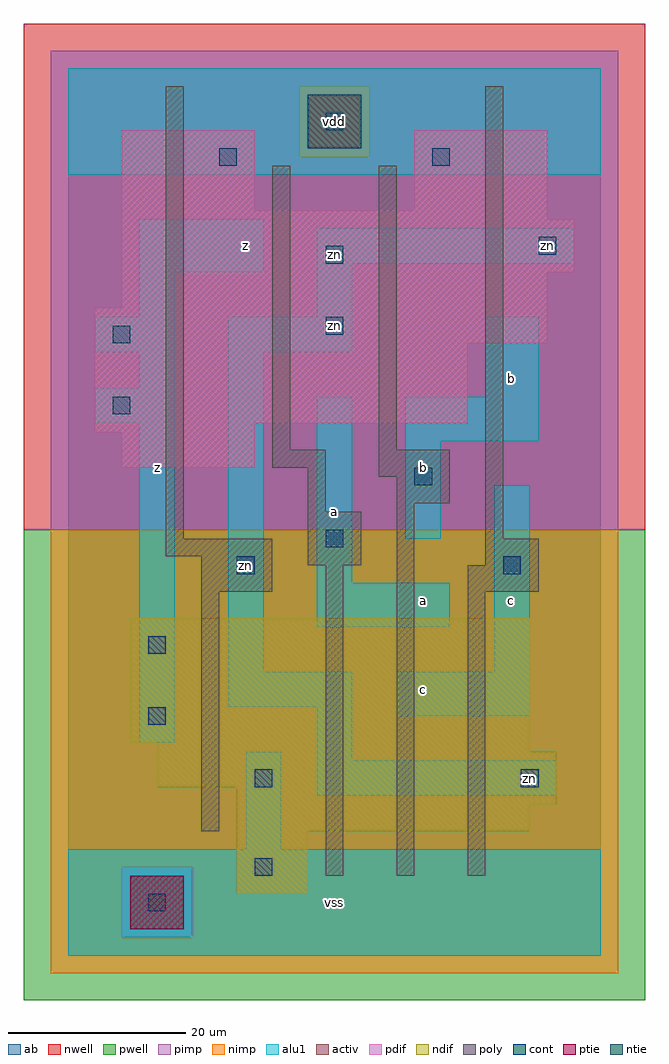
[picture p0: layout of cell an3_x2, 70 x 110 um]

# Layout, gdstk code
import gdstk
lib = gdstk.Library(unit=1e-6, precision=1e-09)
def R(c, l, rs):  # rectangles x0, y0, x1, y1
    for r in rs: c.add(gdstk.rectangle(r[:2], r[2:], *l))
ndif = (3, 0)
pdif = (4, 0)
ntie = (5, 0)
ptie = (6, 0)
cont = (25, 0)
pwell = (41, 0)
nwell = (42, 0)
activ = (43, 0)
pimp = (44, 0)
nimp = (45, 0)
poly = (46, 0)
alu1 = (49, 0)
ab = (63, 0)

an3_x2 = lib.new_cell('an3_x2')
R(an3_x2, ndif, [(19,7,27,14), (19,14,52,17), (19,17,55,19), (10,19,55,23), (10,23,52,24), (7,24,52,38)])
R(an3_x2, pdif, [(6,55,21,59), (3,59,21,60), (3,60,45,69), (3,69,54,73), (6,73,54,77), (6,77,57,83), (6,83,54,84), (6,84,21,93), (39,84,54,93)])
R(an3_x2, ntie, [(27,91,33,97)])
R(an3_x2, ptie, [(7,3,13,9)])
R(an3_x2, cont, [(9,5,11,7), (21,9,23,11), (21,19,23,21), (51,19,53,21), (9,26,11,28), (9,34,11,36), (19,43,21,45), (49,43,51,45), (29,46,31,48), (39,53,41,55), (5,61,7,63), (5,69,7,71), (29,70,31,72), (29,78,31,80), (53,79,55,81), (17,89,19,91), (41,89,43,91), (29,93,31,95)])
R(an3_x2, pwell, [(-5,-5,65,48)])
R(an3_x2, nwell, [(-5,48,65,105)])
R(an3_x2, activ, [(7,3,13,9), (19,7,27,14), (19,14,52,17), (19,17,55,19), (10,19,55,23), (10,23,52,24), (7,24,52,38), (6,55,21,59), (3,59,21,60), (3,60,45,69), (3,69,54,73), (6,73,54,77), (6,77,57,83), (6,83,54,84), (6,84,21,93), (39,84,54,93), (27,91,33,97)])
R(an3_x2, pimp, [(6,2,14,10), (-2,48,62,90), (-2,90,26,98), (34,90,62,98), (-2,98,62,102)])
R(an3_x2, nimp, [(-2,-2,62,2), (-2,2,6,10), (14,2,62,10), (-2,10,62,48), (26,90,34,98)])
R(an3_x2, poly, [(29,9,31,44), (37,9,39,51), (45,9,47,41), (15,14,17,41), (15,41,23,45), (45,41,53,44), (27,44,33,50), (47,44,53,47), (11,45,23,47), (11,47,13,98), (47,47,49,98), (27,50,29,55), (37,51,43,54), (35,54,43,57), (23,55,29,57), (23,57,25,89), (35,57,37,89)])
R(an3_x2, alu1, [(0,0,60,12), (20,12,24,23), (28,18,55,22), (28,22,32,28), (8,24,12,60), (37,27,52,32), (18,28,32,32), (18,32,22,68), (48,32,52,53), (28,37,43,42), (28,42,32,63), (38,47,42,58), (38,58,53,63), (3,60,12,64), (47,63,53,72), (8,64,12,68), (3,68,12,72), (18,68,32,72), (8,72,12,77), (28,72,32,78), (8,77,22,83), (28,78,57,82), (0,88,60,100)])
R(an3_x2, ab, [(0,0,60,100)])
an3_x2.add(gdstk.Label('zn', (20,44), layer=49, texttype=0))
an3_x2.add(gdstk.Label('zn', (30,79), layer=49, texttype=0))
an3_x2.add(gdstk.Label('zn', (30,71), layer=49, texttype=0))
an3_x2.add(gdstk.Label('zn', (52,20), layer=49, texttype=0))
an3_x2.add(gdstk.Label('zn', (54,80), layer=49, texttype=0))
an3_x2.add(gdstk.Label('z', (10,55), layer=49, texttype=0))
an3_x2.add(gdstk.Label('z', (20,80), layer=49, texttype=0))
an3_x2.add(gdstk.Label('vss', (30,6), layer=49, texttype=0))
an3_x2.add(gdstk.Label('a', (40,40), layer=49, texttype=0))
an3_x2.add(gdstk.Label('c', (40,30), layer=49, texttype=0))
an3_x2.add(gdstk.Label('a', (30,50), layer=49, texttype=0))
an3_x2.add(gdstk.Label('b', (40,55), layer=49, texttype=0))
an3_x2.add(gdstk.Label('vdd', (30,94), layer=49, texttype=0))
an3_x2.add(gdstk.Label('c', (50,40), layer=49, texttype=0))
an3_x2.add(gdstk.Label('b', (50,65), layer=49, texttype=0))

lib.write_gds('an3_x2.gds')
